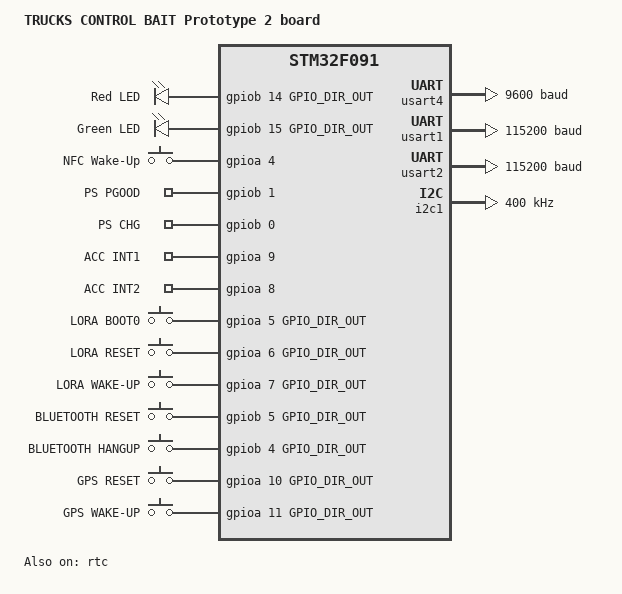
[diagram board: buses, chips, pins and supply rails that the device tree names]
/*
 * Copyright (c) 2018 Trucks Control
 *
 */

/dts-v1/;
#include <st/f0/stm32f091Xc.dtsi>

/ {
	soc {
		usart3: serial@40004800 {
			compatible = "st,stm32-usart", "st,stm32-uart";
			reg = <0x40004800 0x400>;
			clocks = <&rcc STM32_CLOCK_BUS_APB1 0x00040000>;
			interrupts = <29 0>;
			status = "disabled";
			label = "UART_3";
		};
		usart4: serial@40004c00 {
			compatible = "st,stm32-usart", "st,stm32-uart";
			reg = <0x40004c00 0x400>;
			clocks = <&rcc STM32_CLOCK_BUS_APB1 0x00080000>;
			interrupts = <29 0>;
			status = "disabled";
			label = "UART_4";
		};
		pinctrl: pin-controller@48000000 {
			usart3_pins_a: usart3_a {
				rx_tx {
					rx = <STM32_PIN_PB11 (STM32_PINMUX_ALT_FUNC_4 | STM32_PUPDR_NO_PULL)>;
					tx = <STM32_PIN_PB10 (STM32_PINMUX_ALT_FUNC_4 | STM32_PUSHPULL_PULLUP)>;
				};
			};
			usart4_pins_a: usart4_a {
				rx_tx {
					rx = <STM32_PIN_PA1 (STM32_PINMUX_ALT_FUNC_4 | STM32_PUPDR_NO_PULL)>;
					tx = <STM32_PIN_PA0 (STM32_PINMUX_ALT_FUNC_4 | STM32_PUSHPULL_PULLUP)>;
				};
			};
		};
		rtc: rtc@40002800 {
			compatible = "st,stm32-rtc";
			reg = <0x40002800 0x400>;
			interrupts = <2 0>;
			clocks = <&rcc STM32_CLOCK_BUS_APB1 0x10000000>;
			prescaler = <32768>;
			status = "disabled";
			label = "RTC_0";
		};
	};
};

/ {
	model = "TRUCKS CONTROL BAIT Prototype 2 board";
	compatible = "st,stm32f091";

	chosen {
		zephyr,console = &usart2;
		zephyr,shell-uart = &usart2;
		zephyr,uart-mcumgr = &usart2;
		zephyr,sram = &sram0;
		zephyr,flash = &flash0;
		// zephyr,code-partition = &primary_slot_partition;
	};

	leds {
		compatible = "gpio-leds";
		led_1: red_led {
			gpios = <&gpiob 14 GPIO_DIR_OUT>;
			label = "Red LED";
		};
		led_2: green_led {
			gpios = <&gpiob 15 GPIO_DIR_OUT>;
			label = "Green LED";
		};
	};

	gpio_keys {
		compatible = "gpio-keys";
		// Entradas - Inicio
		nfc1: nfc_gpo {
			label = "NFC Wake-Up";
			gpios = <&gpioa 4 (GPIO_DIR_IN | GPIO_INT | GPIO_PUD_PULL_UP | GPIO_INT_EDGE | GPIO_INT_DOUBLE_EDGE | GPIO_INT_DEBOUNCE)>;
		};
		ps1: ps_pgood {
			label = "PS PGOOD";
			gpios = <&gpiob 1 (GPIO_DIR_IN | GPIO_INT | GPIO_PUD_PULL_UP | GPIO_INT_EDGE | GPIO_INT_DOUBLE_EDGE | GPIO_INT_DEBOUNCE)>;
		};
		ps2: ps_chg {
			label = "PS CHG";
			gpios = <&gpiob 0 (GPIO_DIR_IN | GPIO_INT | GPIO_PUD_PULL_UP | GPIO_INT_EDGE | GPIO_INT_DOUBLE_EDGE | GPIO_INT_DEBOUNCE)>;
		};
		acc1: acc_int1 {
			label = "ACC INT1";
			gpios = <&gpioa 9 (GPIO_DIR_IN | GPIO_INT | GPIO_PUD_PULL_UP | GPIO_INT_EDGE | GPIO_INT_DOUBLE_EDGE | GPIO_INT_DEBOUNCE)>;
		};
		acc2: acc_int2 {
			label = "ACC INT2";
			gpios = <&gpioa 8 (GPIO_DIR_IN | GPIO_INT | GPIO_PUD_PULL_UP | GPIO_INT_EDGE | GPIO_INT_DOUBLE_EDGE | GPIO_INT_DEBOUNCE)>;
		};
		// Entradas - Fim
		// Saidas - Inicio
		lora1: lora_boot0 {
			label = "LORA BOOT0";
			gpios = <&gpioa 5 GPIO_DIR_OUT>;
		};
		lora2: lora_reset {
			label = "LORA RESET";
			gpios = <&gpioa 6 GPIO_DIR_OUT>;
		};
		lora3: lora_wkup1 {
			label = "LORA WAKE-UP";
			gpios = <&gpioa 7 GPIO_DIR_OUT>;
		};
		bt1: bt_reset {
			label = "BLUETOOTH RESET";
			gpios = <&gpiob 5 GPIO_DIR_OUT>;
		};
		bt2: bt_hangup {
			label = "BLUETOOTH HANGUP";
			gpios = <&gpiob 4 GPIO_DIR_OUT>;
		};
		gps1: gps_reset {
			label = "GPS RESET";
			gpios = <&gpioa 10 GPIO_DIR_OUT>;
		};
		gps2: gps_wakeup {
			label = "GPS WAKE-UP";
			gpios = <&gpioa 11 GPIO_DIR_OUT>;
		};
		// Saidas - Fim
	};

	// aliases {
	// 	led-red = &red_led;
	// 	led-green = &green_led;
	// 	nfc-gpo = &nfc_gpo;
	// 	ps-pgood = &ps_pgood;
	// 	ps-chg = &ps_chg;
	// 	acc-int1 = &acc_int1;
	// 	acc-int2 = &acc_int2;
	// 	lora-boot0 = &lora_boot0;
	// 	lora-reset = &lora_reset;
	// 	lora-wakeup = &lora_wkup1;
	// 	bt-reset = &bt_reset;
	// 	bt-hangup = &bt_hangup;
	// 	gps-reset = &gps_reset;
	// 	gps-wakeup = &gps_wakeup;
	// };
};

// BLUETOOTH
&usart1 {
	current-speed = <115200>;
	pinctrl-0 = <&usart1_pins_a>;
	pinctrl-names = "default";
	status = "ok";
};

// CONSOLE
&usart2 {
	current-speed = <115200>;
	pinctrl-0 = <&usart2_pins_a>;
	pinctrl-names = "default";
	status = "ok";
};

// GPS
// &usart3 {
// 	current-speed = <115200>;
// 	pinctrl-0 = <&usart3_pins_a>;
// 	pinctrl-names = "default";
// 	status = "ok";
// };

// LORA
&usart4 {
	current-speed = <9600>;
	pinctrl-0 = <&usart4_pins_a>;
	pinctrl-names = "default";
	status = "ok";
};

&i2c1 {
	status = "ok";
	clock-frequency = <I2C_BITRATE_FAST>;
};

&rtc {
	status = "ok";
}; 

// &flash0 {
// 	/*
// 	 * For more information, see:
// 	 * http://docs.zephyrproject.org/latest/devices/dts/flash_partitions.html
// 	 */
// 	partitions {
// 		compatible = "fixed-partitions";
// 		#address-cells = <1>;
// 		#size-cells = <1>;

// 		boot_partition: partition@0 {
// 			label = "mcuboot";
// 			reg = <0x00000000 0xc000>; // 12 sectors 48KB
// 		};
// 		primary_slot_partition: partition@c000 {
// 			label = "image-0";
// 			reg = <0x0000c000 0x14000>; // 20 sectors 80KB
// 		};
// 		secondary_slot_partition: partition@20000 {
// 			label = "image-1";
// 			reg = <0x00020000 0x14000>; // 20 sectors 80KB
// 		};
// 		scratch_partition: partition@34000 {
// 			label = "image-scratch";
// 			reg = <0x0034000 0x4000>; // 4 sectors 16KB
// 		};
// 		storage_partition: partition@38000 {
// 			label = "storage";
// 			reg = <0x0038000 0x8000>; // 8 sectors 32KB
// 			// reg = <0x003c000 0x1000>; // 6 sectors 24KB
// 		};
// 	};
// };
